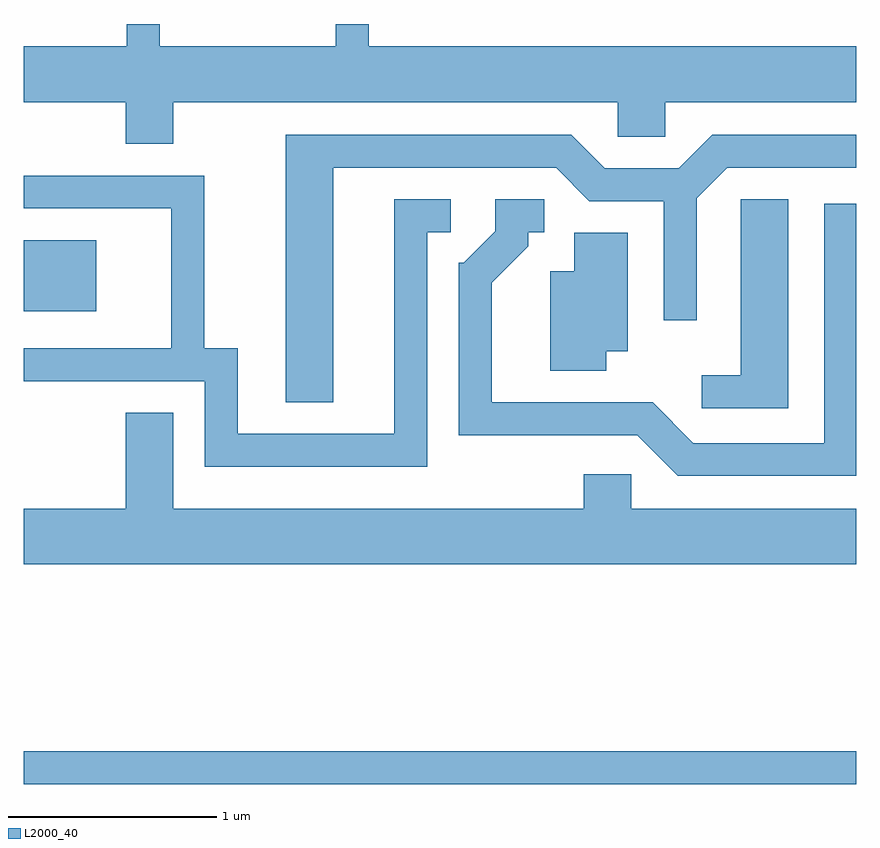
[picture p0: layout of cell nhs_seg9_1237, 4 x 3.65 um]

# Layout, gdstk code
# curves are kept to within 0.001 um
import gdstk
lib = gdstk.Library(unit=1e-6, precision=1e-09)
def R(c, l, rs):  # rectangles x0, y0, x1, y1
    for r in rs: c.add(gdstk.rectangle(r[:2], r[2:], *l))
def P(c, l, *ps):  # polygons
    for p in ps: c.add(gdstk.Polygon(p, *l))
L2000_40 = (2000, 40)

nhs_seg9_1237 = lib.new_cell('nhs_seg9_1237')
R(nhs_seg9_1237, L2000_40, [(221.611,1970.781,225.611,1970.939), (221.611,1973.051,221.959,1973.394)])
P(nhs_seg9_1237, L2000_40, [(222.329,1974.056),(224.466,1974.056),(224.466,1973.891),(224.694,1973.891),(224.694,1974.056),(225.611,1974.056),(225.611,1974.324),(223.269,1974.324),(223.269,1974.432),(223.111,1974.432),(223.111,1974.324),(222.264,1974.324),(222.264,1974.432),(222.106,1974.432),(222.106,1974.324),(221.611,1974.324),(221.611,1974.056),(222.101,1974.056),(222.101,1973.856),(222.329,1973.856)],
  [(223.099,1973.741),(224.169,1973.741),(224.329,1973.581),(224.686,1973.581),(224.686,1973.008),(224.844,1973.008),(224.844,1973.594),(224.992,1973.741),(225.611,1973.741),(225.611,1973.899),(224.919,1973.899),(224.759,1973.739),(224.402,1973.739),(224.242,1973.899),(222.871,1973.899),(222.871,1972.616),(223.099,1972.616)],
  [(223.549,1973.431),(223.663,1973.431),(223.663,1973.589),(223.391,1973.589),(223.391,1972.464),(222.639,1972.464),(222.639,1972.874),(222.479,1972.874),(222.479,1973.704),(221.611,1973.704),(221.611,1973.546),(222.321,1973.546),(222.321,1972.874),(221.611,1972.874),(221.611,1972.716),(222.481,1972.716),(222.481,1972.306),(223.549,1972.306)],
  [(225.611,1973.569),(225.456,1973.569),(225.456,1972.419),(224.827,1972.419),(224.632,1972.614),(223.859,1972.614),(223.859,1973.189),(224.034,1973.364),(224.034,1973.431),(224.113,1973.431),(224.113,1973.589),(223.876,1973.589),(223.876,1973.437),(223.724,1973.284),(223.701,1973.284),(223.701,1972.456),(224.559,1972.456),(224.754,1972.261),(225.611,1972.261)],
  [(225.284,1973.589),(225.056,1973.589),(225.056,1972.744),(224.868,1972.744),(224.868,1972.586),(225.284,1972.586)],
  [(224.409,1972.861),(224.514,1972.861),(224.514,1973.429),(224.256,1973.429),(224.256,1973.244),(224.141,1973.244),(224.141,1972.766),(224.409,1972.766)],
  [(225.611,1972.104),(224.529,1972.104),(224.529,1972.269),(224.301,1972.269),(224.301,1972.104),(222.329,1972.104),(222.329,1972.564),(222.101,1972.564),(222.101,1972.104),(221.611,1972.104),(221.611,1971.836),(225.611,1971.836)])

lib.write_gds('nhs_seg9_1237.gds')
